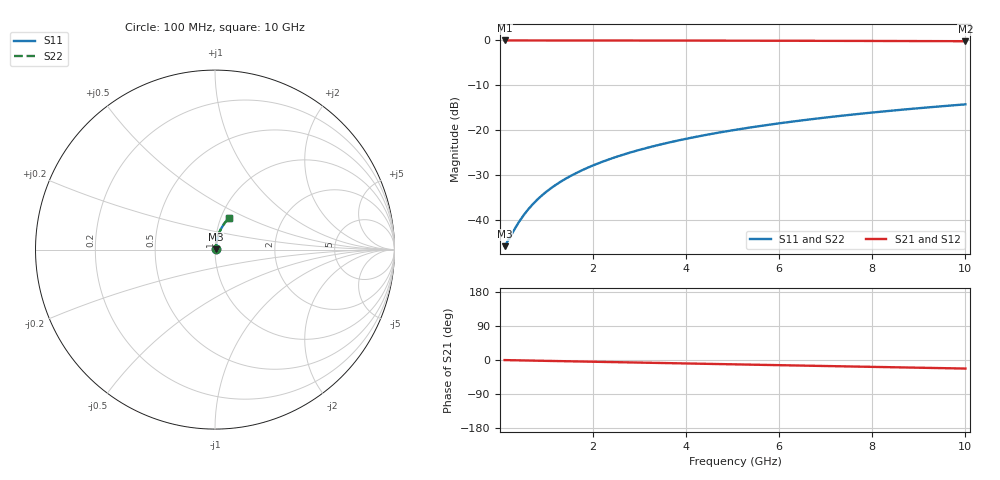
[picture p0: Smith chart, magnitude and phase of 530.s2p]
# Hz S RI R 50.00
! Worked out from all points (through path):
!   100 points, 100 MHz to 10 GHz, reference 50 ohm
!   highest |S21| = -0.04 dB at 100 MHz (marker M1); lowest = -0.2 dB at 10 GHz (marker M2)
!   group delay of S21, straight-line fit = 6.28 ps
!   lowest |S11| = -45.9 dB at 100 MHz (marker M3), VSWR 1.01, Z = 50.5 + j0.201 ohm
!   |S11| at or under -10 dB: start of sweep to end of sweep
!   |S22| runs from -45.9 to -14.3 dB; largest |S21 - S12| = 0
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1e8  0.00468 0.00199  0.9953 -0.00396  0.9953 -0.00396  0.00468 0.00199
2e8  0.00474 0.00397  0.9953 -0.00793  0.9953 -0.00793  0.00474 0.00397
3e8  0.0048 0.00596  0.9952 -0.0119  0.9952 -0.0119  0.0048 0.00596
4e8  0.00487 0.00794  0.9951 -0.0158  0.9951 -0.0158  0.00487 0.00794
5e8  0.00496 0.00993  0.995 -0.0198  0.995 -0.0198  0.00496 0.00993
6e8  0.00506 0.0119  0.9949 -0.0238  0.9949 -0.0238  0.00506 0.0119
7e8  0.00517 0.0139  0.9947 -0.0277  0.9947 -0.0277  0.00517 0.0139
8e8  0.0053 0.0159  0.9946 -0.0317  0.9946 -0.0317  0.0053 0.0159
1e9  0.00561 0.0198  0.9942 -0.0396  0.9942 -0.0396  0.00561 0.0198
1.2e9  0.00597 0.0238  0.9937 -0.0475  0.9937 -0.0475  0.00597 0.0238
1.5e9  0.00663 0.0297  0.9929 -0.0594  0.9929 -0.0594  0.00663 0.0297
1.8e9  0.00743 0.0356  0.9919 -0.0712  0.9919 -0.0712  0.00743 0.0356
2.1e9  0.00837 0.0415  0.9907 -0.083  0.9907 -0.083  0.00837 0.0415
2.5e9  0.00984 0.0493  0.9889 -0.0987  0.9889 -0.0987  0.00984 0.0493
2.9e9  0.0116 0.057  0.9867 -0.1143  0.9867 -0.1143  0.0116 0.057
3.4e9  0.014 0.0666  0.9836 -0.1338  0.9836 -0.1338  0.014 0.0666
4.2e9  0.0188 0.0817  0.9777 -0.1647  0.9777 -0.1647  0.0188 0.0817
5.1e9  0.0252 0.0982  0.9696 -0.1991  0.9696 -0.1991  0.0252 0.0982
5.9e9  0.0319 0.1124  0.9611 -0.2292  0.9611 -0.2292  0.0319 0.1124
6.7e9  0.0394 0.1261  0.9516 -0.2588  0.9516 -0.2588  0.0394 0.1261
8.4e9  0.0581 0.1534  0.9277 -0.3198  0.9277 -0.3198  0.0581 0.1534
1e10  0.0787 0.1764  0.9012 -0.3747  0.9012 -0.3747  0.0787 0.1764
